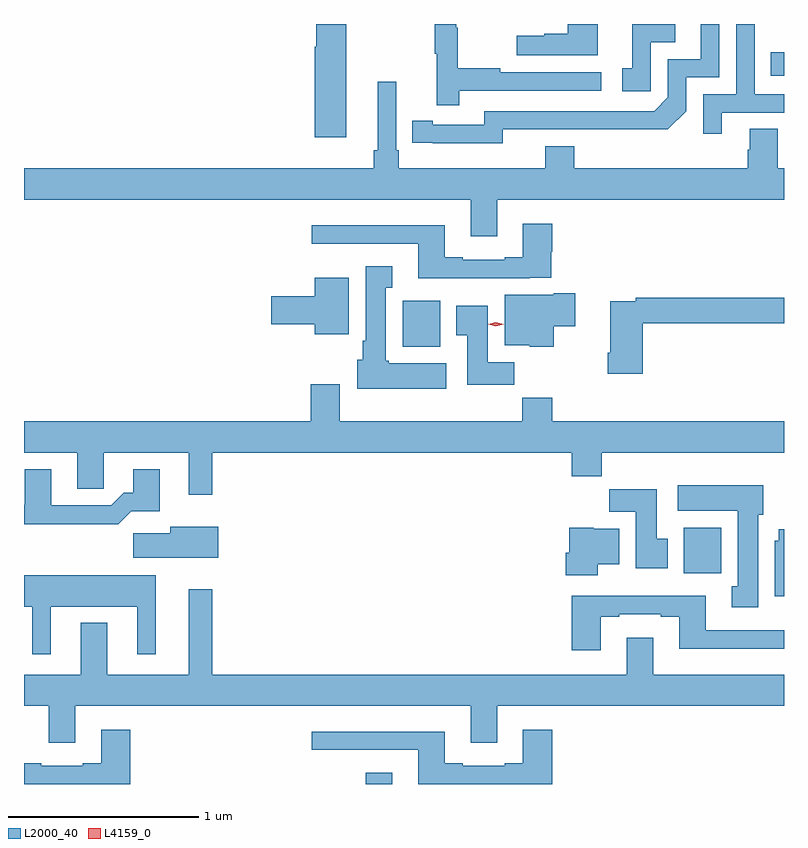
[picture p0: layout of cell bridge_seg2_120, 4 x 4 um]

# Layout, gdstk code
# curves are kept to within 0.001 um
import gdstk
lib = gdstk.Library(unit=1e-6, precision=1e-09)
def R(c, l, rs):  # rectangles x0, y0, x1, y1
    for r in rs: c.add(gdstk.rectangle(r[:2], r[2:], *l))
def P(c, l, *ps):  # polygons
    for p in ps: c.add(gdstk.Polygon(p, *l))
L2000_40 = (2000, 40)
L4159_0 = (4159, 0)

bridge_seg2_120 = lib.new_cell('bridge_seg2_120')
R(bridge_seg2_120, L2000_40, [(494.837,628.576,494.977,628.636), (496.511,629.684,496.708,629.926), (495.032,630.878,495.229,631.12), (496.969,632.304,497.039,632.427)])
P(bridge_seg2_120, L2000_40, [(496.711,632.109),(497.039,632.109),(497.039,632.205),(496.884,632.205),(496.884,632.576),(496.788,632.576),(496.788,632.205),(496.614,632.205),(496.614,631.998),(496.711,631.998)],
  [(495.329,632.226),(496.078,632.226),(496.078,632.322),(495.545,632.322),(495.545,632.342),(495.322,632.342),(495.322,632.556),(495.314,632.556),(495.314,632.576),(495.201,632.576),(495.201,632.419),(495.212,632.419),(495.212,632.148),(495.329,632.148)],
  [(495.558,632.022),(496.426,632.021),(496.524,632.118),(496.524,632.295),(496.698,632.295),(496.698,632.576),(496.601,632.576),(496.601,632.391),(496.428,632.391),(496.428,632.19),(496.356,632.118),(495.462,632.118),(495.462,632.046),(495.19,632.046),(495.19,632.066),(495.082,632.066),(495.082,631.95),(495.558,631.949)],
  [(494.734,632.576),(494.576,632.576),(494.576,632.457),(494.57,632.457),(494.57,631.98),(494.734,631.98)],
  [(496.338,632.481),(496.467,632.481),(496.467,632.576),(496.241,632.576),(496.241,632.343),(496.188,632.343),(496.188,632.223),(496.338,632.223)],
  [(496.06,632.576),(495.902,632.576),(495.902,632.525),(495.776,632.525),(495.776,632.515),(495.633,632.515),(495.633,632.411),(496.06,632.411)],
  [(494.997,631.912),(494.997,632.272),(494.9,632.272),(494.9,631.912),(494.881,631.912),(494.881,631.816),(493.039,631.816),(493.039,631.652),(495.389,631.652),(495.389,631.458),(495.529,631.458),(495.529,631.652),(497.039,631.652),(497.039,631.816),(497.007,631.816),(497.007,632.024),(496.859,632.024),(496.859,631.914),(496.847,631.914),(496.847,631.816),(495.935,631.816),(495.935,631.933),(495.782,631.933),(495.782,631.816),(495.011,631.816),(495.011,631.912)],
  [(495.701,631.24),(495.815,631.24),(495.815,631.377),(495.818,631.377),(495.818,631.525),(495.665,631.525),(495.665,631.348),(495.569,631.348),(495.569,631.335),(495.349,631.335),(495.349,631.348),(495.253,631.348),(495.253,631.516),(494.553,631.516),(494.553,631.419),(495.113,631.419),(495.113,631.238),(495.701,631.238)],
  [(495.262,630.79),(494.958,630.79),(494.958,630.804),(494.944,630.804),(494.944,631.187),(494.977,631.187),(494.977,631.3),(494.837,631.3),(494.837,630.91),(494.822,630.91),(494.822,630.81),(494.792,630.81),(494.792,630.656),(495.262,630.656)],
  [(494.749,631.24),(494.57,631.24),(494.57,631.142),(494.34,631.142),(494.34,630.995),(494.57,630.995),(494.57,630.944),(494.749,630.944)],
  [(495.828,630.985),(495.94,630.985),(495.94,631.16),(495.827,631.16),(495.827,631.15),(495.569,631.15),(495.569,630.884),(495.702,630.884),(495.702,630.878),(495.828,630.878)],
  [(496.295,631),(497.039,631),(497.039,631.136),(496.258,631.136),(496.258,631.116),(496.124,631.116),(496.124,630.847),(496.112,630.847),(496.112,630.735),(496.295,630.735)],
  [(495.62,630.796),(495.481,630.796),(495.481,631.093),(495.314,631.093),(495.314,630.937),(495.371,630.937),(495.371,630.678),(495.62,630.678)],
  [(494.029,630.32),(495.923,630.32),(495.923,630.196),(496.079,630.196),(496.079,630.32),(497.039,630.32),(497.039,630.484),(495.818,630.484),(495.818,630.608),(495.661,630.608),(495.661,630.484),(494.701,630.484),(494.701,630.679),(494.549,630.679),(494.549,630.484),(493.039,630.484),(493.039,630.32),(493.319,630.32),(493.319,630.13),(493.458,630.13),(493.458,630.32),(493.907,630.32),(493.907,630.099),(494.029,630.099)],
  [(493.604,630.011),(493.753,630.011),(493.753,630.232),(493.613,630.232),(493.613,630.109),(493.564,630.109),(493.497,630.042),(493.183,630.042),(493.183,630.232),(493.043,630.232),(493.043,630.045),(493.039,630.045),(493.039,629.944),(493.279,629.944),(493.279,629.942),(493.535,629.942)],
  [(496.903,629.994),(496.93,629.994),(496.93,630.148),(496.479,630.148),(496.479,630.014),(496.796,630.014),(496.796,629.618),(496.763,629.618),(496.763,629.505),(496.903,629.505)],
  [(496.426,629.868),(496.369,629.868),(496.369,630.127),(496.12,630.127),(496.12,630.008),(496.259,630.008),(496.259,629.712),(496.426,629.712)],
  [(494.062,629.929),(493.808,629.929),(493.808,629.897),(493.614,629.897),(493.614,629.768),(494.062,629.768)],
  [(496.06,629.732),(496.171,629.732),(496.171,629.92),(496.038,629.92),(496.038,629.926),(495.908,629.926),(495.908,629.793),(495.89,629.793),(495.89,629.675),(496.06,629.675)],
  [(497.039,629.917),(497.012,629.917),(497.012,629.856),(496.991,629.856),(496.991,629.564),(497.039,629.564)],
  [(493.18,629.51),(493.634,629.51),(493.634,629.259),(493.732,629.259),(493.732,629.674),(493.039,629.674),(493.039,629.51),(493.082,629.51),(493.082,629.259),(493.18,629.259)],
  [(493.309,628.988),(495.389,628.988),(495.389,628.794),(495.529,628.794),(495.529,628.988),(497.039,628.988),(497.039,629.152),(496.351,629.152),(496.351,629.347),(496.211,629.347),(496.211,629.152),(494.029,629.152),(494.029,629.602),(493.907,629.602),(493.907,629.152),(493.477,629.152),(493.477,629.425),(493.337,629.425),(493.337,629.152),(493.039,629.152),(493.039,628.988),(493.169,628.988),(493.169,628.794),(493.309,628.794)],
  [(496.075,629.457),(496.171,629.457),(496.171,629.469),(496.391,629.469),(496.391,629.457),(496.487,629.457),(496.487,629.288),(497.039,629.288),(497.039,629.385),(496.627,629.385),(496.627,629.566),(495.923,629.566),(495.923,629.28),(496.075,629.28)],
  [(493.598,628.861),(493.445,628.861),(493.445,628.684),(493.349,628.684),(493.349,628.671),(493.129,628.671),(493.129,628.684),(493.039,628.684),(493.039,628.576),(493.598,628.576)],
  [(495.818,628.861),(495.665,628.861),(495.665,628.684),(495.569,628.684),(495.569,628.671),(495.349,628.671),(495.349,628.684),(495.253,628.684),(495.253,628.852),(494.553,628.852),(494.553,628.755),(495.113,628.755),(495.113,628.576),(495.818,628.576)])
P(bridge_seg2_120, L4159_0, [(495.523,630.986),(495.482,630.996),(495.482,630.996),(495.482,630.996),(495.523,631.006),(495.564,630.996),(495.564,630.996),(495.564,630.996)])

lib.write_gds('bridge_seg2_120.gds')
